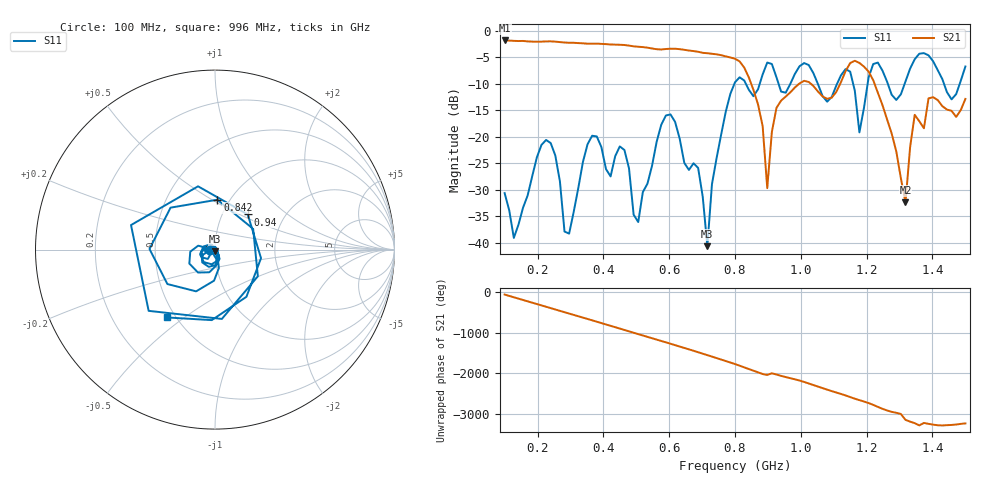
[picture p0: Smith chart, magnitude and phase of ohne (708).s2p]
! NanoVNA-App
! Date: 2025-09-25 14:26:18
! Start: 100MHz Stop: 1,5GHz Points: 101
! S-Parameter data: F S11 S21 S12 S22
# Hz S RI R 50
!  Frequency  S11_Real  S11_Imag  S21_Real  S21_Imag  S12_Real  S12_Imag  S22_Real  S22_Imag
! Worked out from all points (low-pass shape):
!   101 points, 100 MHz to 1.5 GHz, reference 50 ohm
!   highest |S21| = -1.79 dB at 100 MHz (marker M1); lowest = -32.4 dB at 1.318 GHz (marker M2)
!   |S21| within 3 dB of the highest: start of sweep to 771.4 MHz
!   lowest |S11| = -40.7 dB at 716 MHz (marker M3), VSWR 1.02, Z = 49.8 - j0.912 ohm
!   |S11| at or under -10 dB: start of sweep to 798.1 MHz; 833.1 MHz to 875.1 MHz (41.96 MHz wide, 4.91 % of centre); 1.052 GHz to 1.11 GHz (58.19 MHz wide, 5.38 % of centre) (the widest 3 of 7)
!   S12 and S22 are empty: the file has one direction only
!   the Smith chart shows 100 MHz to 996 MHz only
!   S11 on the Smith chart (normalised r, x): 100 MHz: 0.94, -0.01; 842 MHz: 0.88, +0.53; 940 MHz: 1.31, +0.55; 996 MHz: 0.45, -0.43
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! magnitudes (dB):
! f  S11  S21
! 100 MHz  -30.6  -1.8
! 128 MHz  -39.1  -1.9
! 226 MHz  -20.6  -2.0
! 296 MHz  -38.3  -2.2
! 338 MHz  -24.7  -2.3
! 464 MHz  -22.5  -2.7
! 506 MHz  -36.1  -3.0
! 576 MHz  -17.7  -3.5
! 688 MHz  -25.9  -3.9
! 716 MHz  -40.7  -4.2
! 800 MHz  -9.7  -5.2
! 842 MHz  -11.1  -8.8
! 898 MHz  -6.0  -29.7
! 940 MHz  -11.4  -13.2
! 996 MHz  -6.7  -9.9
! 1.038 GHz  -7.9  -10.4
! 1.178 GHz  -19.2  -6.0
! 1.22 GHz  -6.2  -9.3
! 1.276 GHz  -12.0  -19.4
! 1.318 GHz  -9.5  -32.4
! 1.346 GHz  -5.3  -15.9
! 1.5 GHz  -6.7  -12.8
